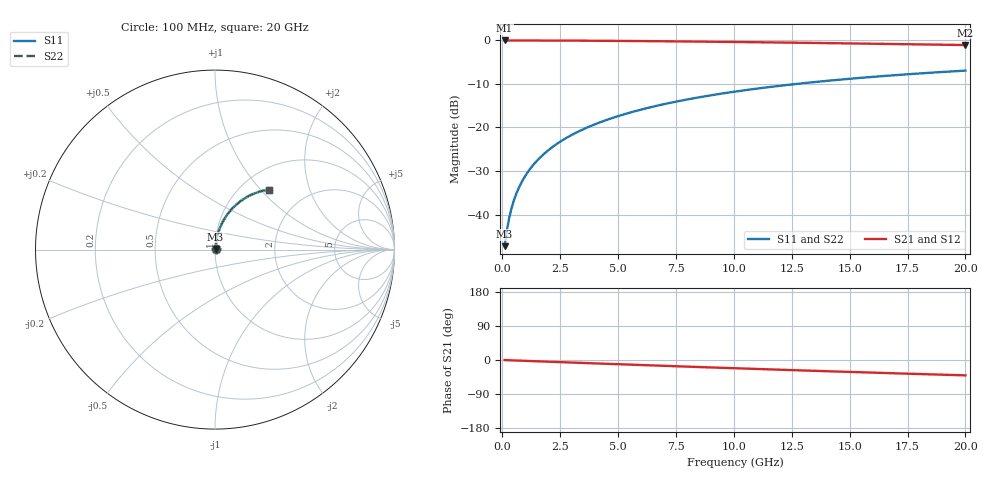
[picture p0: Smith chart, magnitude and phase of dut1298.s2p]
! Touchstone file exported from HFSS 2026.1.0
!  File:  C:/ffzhzh/LocalFiles/Ansys_Project_Files/temp_train_TMRDL_1298_1783164650_18472.aedt
!  Generated:  07:32:08 PM Jul  4, 2026
!  Design:  TMRDL
!  Project:  temp_train_TMRDL_1298_1783164650_18472
! Variables:
!  h_bsmrdl = 2um
!  h_ox = 20um
!  h_rdl = 5um
!  h_sub = 80um
!  h_tmrdl = 3.8um
!  h_tsv = 80um
!  h_via = 3um
!  l_bsmrdl = 300um
!  l_sub = 927.05um
!  l_tmrdl = 527.05um
!  m_sub = 200um
!  pitch = 53.33um
!  r_tsv = 6um
!  s_tmrdl = 10um
!  w_bsmrdl = 18um
!  w_sub = 500um
!  w_tmrdl = 15.7um
!  x_tsv_center1 = 534.9um
!  x_tsv_center2 = 852.9um
!  x_tsv_center3 = 1395.65um
!  x_tsv_center4 = 1713.65um
!  x_tsv_center5 = 2256.4um
!  x_tsv_center6 = 2574.4um
# GHz S MA R 50.000000
! Terminal data exported
! Port[1] = TM_RDL1_1_T1
! Port[2] = TM_RDL1_1_T2
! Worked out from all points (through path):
!   200 points, 100 MHz to 20 GHz, reference 50 ohm
!   highest |S21| = -0.03 dB at 100 MHz (marker M1); lowest = -1.1 dB at 20 GHz (marker M2)
!   group delay of S21, straight-line fit = 5.64 ps
!   lowest |S11| = -47.2 dB at 100 MHz (marker M3), VSWR 1.01, Z = 50.3 + j0.289 ohm
!   |S11| at or under -10 dB: start of sweep to 12.72 GHz
!   |S22| runs from -47.2 to -7.0 dB; largest |S21 - S12| = 2.6e-15
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0.1  0.004343 41.4  0.9968 -0.2  0.9968 -0.2  0.004343 41.4
! Gamma 0 0 0 0
! Port Impedance 50 0 50 0
0.2  0.006635 59.5  0.9967 -0.5  0.9967 -0.5  0.006635 59.5
0.3  0.009216 67.6  0.9965 -0.7  0.9965 -0.7  0.009216 67.6
0.4  0.01187 71.9  0.9964 -0.9  0.9964 -0.9  0.01187 71.9
0.5  0.01455 74.6  0.9963 -1.1  0.9963 -1.1  0.01455 74.6
0.6  0.01723 76.4  0.9962 -1.4  0.9962 -1.4  0.01723 76.4
0.8  0.02262 78.6  0.996 -1.8  0.996 -1.8  0.02262 78.6
1.1  0.03074 80.2  0.9957 -2.5  0.9957 -2.5  0.03074 80.2
1.5  0.04159 81.1  0.9951 -3.4  0.9951 -3.4  0.04159 81.1
1.8  0.04973 81.2  0.9947 -4.1  0.9947 -4.1  0.04973 81.2
2.1  0.05786 81.1  0.9941 -4.7  0.9941 -4.7  0.05786 81.1
2.7  0.07407 80.5  0.9928 -6.1  0.9928 -6.1  0.07407 80.5
3.5  0.09549 79.2  0.9906 -7.8  0.9906 -7.8  0.09549 79.2
4.2  0.114 78.0  0.9882 -9.4  0.9882 -9.4  0.114 78.0
5  0.1349 76.4  0.9852 -11.1  0.9852 -11.1  0.1349 76.4
5.9  0.158 74.6  0.9812 -13.1  0.9812 -13.1  0.158 74.7
6.8  0.1806 72.8  0.9768 -15.0  0.9768 -15.0  0.1806 72.9
8.3  0.2172 69.8  0.9686 -18.2  0.9686 -18.2  0.2172 69.8
10.1  0.2592 66.2  0.9574 -21.9  0.9574 -21.9  0.2592 66.3
13.4  0.3304 59.9  0.9343 -28.5  0.9343 -28.5  0.3304 59.9
16.7  0.3937 53.8  0.909 -34.7  0.909 -34.7  0.3937 53.9
20  0.4492 48.1  0.8827 -40.5  0.8827 -40.5  0.4492 48.1
